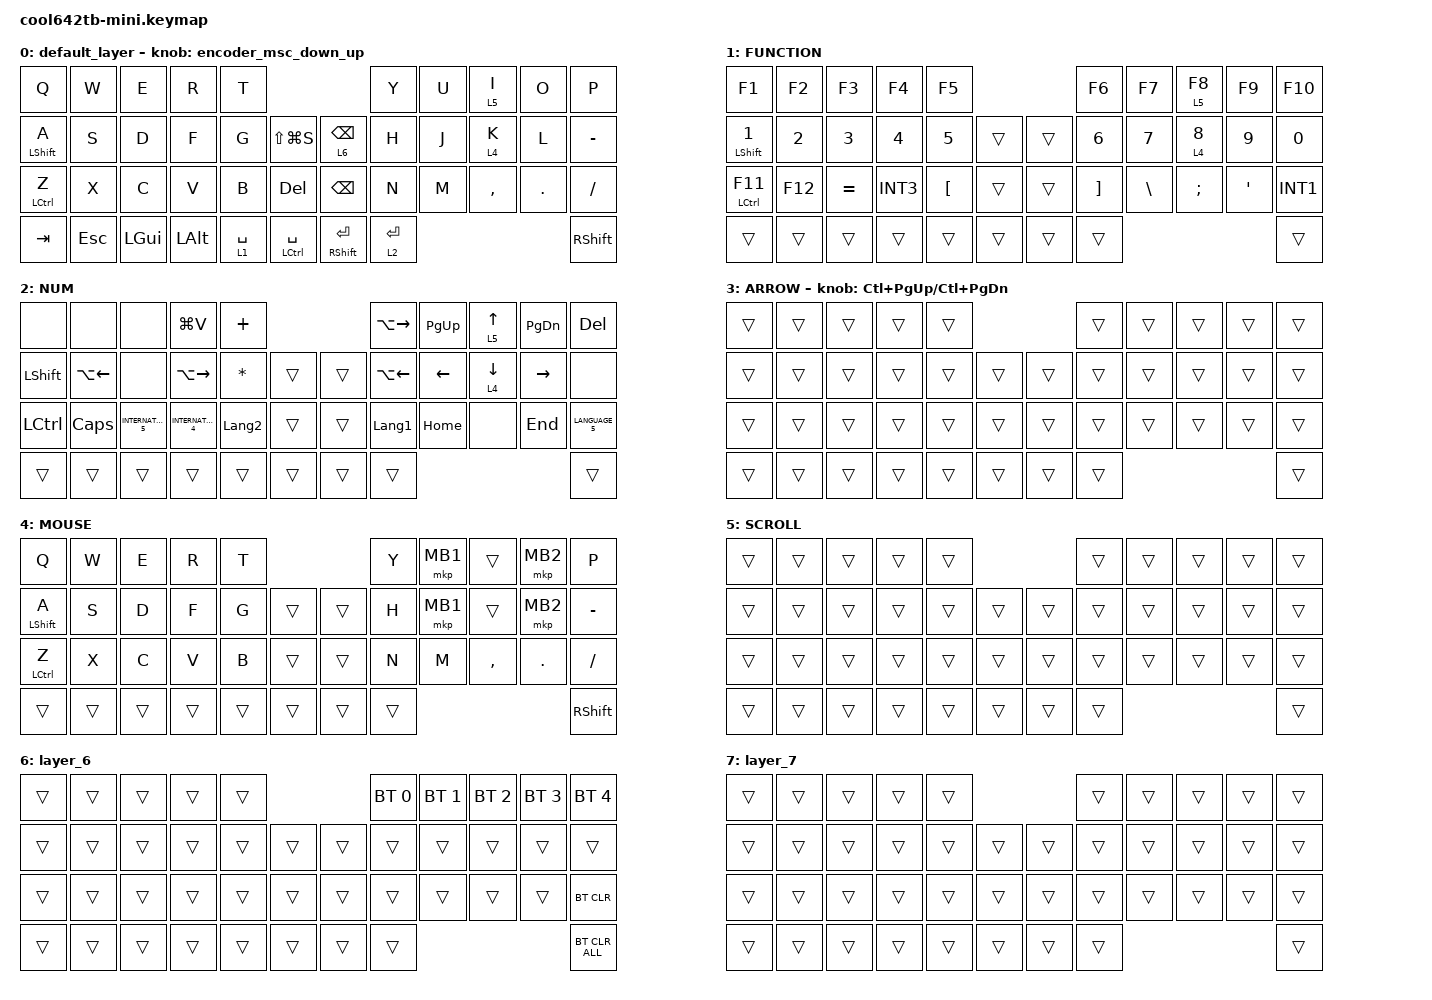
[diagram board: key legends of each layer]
#include <behaviors.dtsi>
#include <dt-bindings/zmk/bt.h>
#include <dt-bindings/zmk/keys.h>
#include <dt-bindings/zmk/pointing.h>

#define MOUSE 4
#define SCROLL 5
#define NUM 6
#define ZMK_POINTING_DEFAULT_SCRL_VAL 80

&mt {
    flavor = "balanced";
    quick-tap-ms = <0>;
};

/ {
    combos {
        compatible = "zmk,combos";

        shift_tab {
            bindings = <&kp LANG2>;
            key-positions = <12 13>;
        };

        lang {
            bindings = <&kp LANG1>;
            key-positions = <18 19>;
        };
    };

    behaviors {
        encoder_msc_down_up: encoder_msc_down_up {
            compatible = "zmk,behavior-sensor-rotate";
            label = "ENCODER_MSC_DOWN_UP";
            #sensor-binding-cells = <0>;
            bindings = <&msc SCRL_UP>, <&msc SCRL_DOWN>;

            tap-ms = <20>;
        };
    };

    keymap {
        compatible = "zmk,keymap";

        default_layer {
            bindings = <
&kp Q               &kp W       &kp E         &kp R         &kp T                                              &kp Y        &kp U  &lt 5 I    &kp O    &kp P
&mt LEFT_SHIFT A    &kp S       &kp D         &kp F         &kp G        &kp LS(LG(S))        &lt 6 BACKSPACE  &kp H        &kp J  &lt 4 K    &kp L    &kp MINUS
&mt LEFT_CONTROL Z  &kp X       &kp C         &kp V         &kp B        &kp DELETE           &kp BACKSPACE    &kp N        &kp M  &kp COMMA  &kp DOT  &kp SLASH
&kp TAB             &kp ESCAPE  &kp LEFT_GUI  &kp LEFT_ALT  &lt 1 SPACE  &mt LCTRL SPACE      &mt RSHFT ENTER  &lt 2 ENTER                             &kp RIGHT_SHIFT
            >;

            sensor-bindings = <&encoder_msc_down_up>;
        };

        FUNCTION {
            bindings = <
&kp F1                   &kp F2        &kp F3        &kp F4        &kp F5                                &kp F6             &kp F7         &lt 5 F8        &kp F9        &kp F10
&mt LEFT_SHIFT NUMBER_1  &kp NUMBER_2  &kp NUMBER_3  &kp NUMBER_4  &kp N5            &trans      &trans  &kp NUMBER_6       &kp NUMBER_7   &lt 4 NUMBER_8  &kp NUMBER_9  &kp NUMBER_0
&mt LCTRL F11            &kp F12       &kp EQUAL     &kp INT3      &kp LEFT_BRACKET  &trans      &trans  &kp RIGHT_BRACKET  &kp BACKSLASH  &kp SEMICOLON   &kp SQT       &kp INT1
&trans                   &trans        &trans        &trans        &trans            &trans      &trans  &trans                                                          &trans
            >;
        };

        NUM {
            bindings = <
&none           &none         &none                &kp LG(V)            &kp PLUS                            &kp LA(RIGHT)   &kp PAGE_UP  &lt 5 UP    &kp PAGE_DOWN  &kp DEL
&kp LEFT_SHIFT  &kp LA(LEFT)  &none                &kp LA(RIGHT)        &kp ASTERISK    &trans      &trans  &kp LA(LEFT)    &kp LEFT     &lt 4 DOWN  &kp RIGHT      &none
&kp LCTRL       &kp CAPSLOCK  &kp INTERNATIONAL_5  &kp INTERNATIONAL_4  &kp LANGUAGE_2  &trans      &trans  &kp LANGUAGE_1  &kp HOME     &none       &kp END        &kp LANGUAGE_5
&trans          &trans        &trans               &trans               &trans          &trans      &trans  &trans                                                  &trans
            >;
        };

        ARROW {
            bindings = <
&trans  &trans  &trans  &trans  &trans                      &trans  &trans  &trans  &trans  &trans
&trans  &trans  &trans  &trans  &trans  &trans      &trans  &trans  &trans  &trans  &trans  &trans
&trans  &trans  &trans  &trans  &trans  &trans      &trans  &trans  &trans  &trans  &trans  &trans
&trans  &trans  &trans  &trans  &trans  &trans      &trans  &trans                          &trans
            >;

            sensor-bindings = <&inc_dec_kp LC(PAGE_UP) LC(PAGE_DOWN)>;
        };

        MOUSE {
            bindings = <
&kp Q             &kp W   &kp E   &kp R   &kp T                       &kp Y   &mkp MB1  &trans     &mkp MB2    &kp P
&mt LEFT_SHIFT A  &kp S   &kp D   &kp F   &kp G   &trans      &trans  &kp H   &mkp MB1  &trans     &mkp MB2    &kp MINUS
&mt LCTRL Z       &kp X   &kp C   &kp V   &kp B   &trans      &trans  &kp N   &kp M     &kp COMMA  &kp PERIOD  &kp SLASH
&trans            &trans  &trans  &trans  &trans  &trans      &trans  &trans                                   &kp RIGHT_SHIFT
            >;
        };

        SCROLL {
            bindings = <
&trans  &trans  &trans  &trans  &trans                      &trans  &trans  &trans  &trans  &trans
&trans  &trans  &trans  &trans  &trans  &trans      &trans  &trans  &trans  &trans  &trans  &trans
&trans  &trans  &trans  &trans  &trans  &trans      &trans  &trans  &trans  &trans  &trans  &trans
&trans  &trans  &trans  &trans  &trans  &trans      &trans  &trans                          &trans
            >;
        };

        layer_6 {
            bindings = <
&trans  &trans  &trans  &trans  &trans                      &bt BT_SEL 0  &bt BT_SEL 1  &bt BT_SEL 2  &bt BT_SEL 3  &bt BT_SEL 4
&trans  &trans  &trans  &trans  &trans  &trans      &trans  &trans        &trans        &trans        &trans        &trans
&trans  &trans  &trans  &trans  &trans  &trans      &trans  &trans        &trans        &trans        &trans        &bt BT_CLR
&trans  &trans  &trans  &trans  &trans  &trans      &trans  &trans                                                  &bt BT_CLR_ALL
            >;
        };

        layer_7 {
            bindings = <
&trans  &trans  &trans  &trans  &trans                      &trans  &trans  &trans  &trans  &trans
&trans  &trans  &trans  &trans  &trans  &trans      &trans  &trans  &trans  &trans  &trans  &trans
&trans  &trans  &trans  &trans  &trans  &trans      &trans  &trans  &trans  &trans  &trans  &trans
&trans  &trans  &trans  &trans  &trans  &trans      &trans  &trans                          &trans
            >;
        };
    };
};
